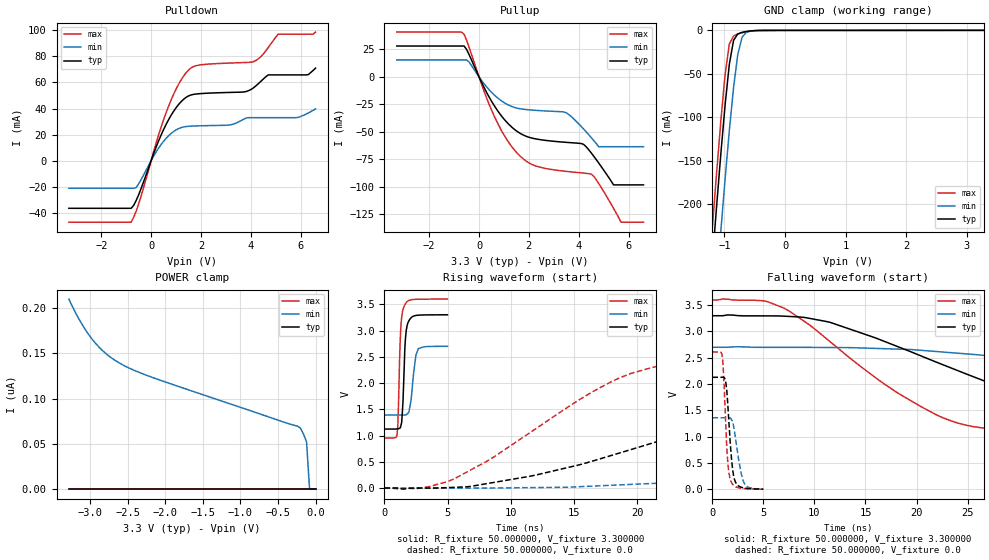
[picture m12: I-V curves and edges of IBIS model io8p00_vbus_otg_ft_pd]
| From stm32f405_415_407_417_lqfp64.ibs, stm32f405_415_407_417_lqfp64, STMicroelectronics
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|   Model io8p00_vbus_otg_ft_pd
[Model]  io8p00_vbus_otg_ft_pd
Model_type I/O
Polarity   Non-Inverting
Enable   Active-Low
Vinl =   0.990000V
Vinh =   2.310000V
Vmeas =  1.650000V
Cref =   50.000000pF
Rref =   100.000000M
Vref =   0.0V
C_comp   3.304800pF   3.199300pF   3.429300pF
[Temperature Range]   25.000000   0.125000k   -40.000000
[Pullup Reference]   3.300000V   2.700000V   3.600000V
[Pulldown Reference]   0.0V   0.0V   0.0V
[POWER Clamp Reference]   3.300000V   2.700000V   3.600000V
[GND Clamp Reference]   0.0V   0.0V   0.0V
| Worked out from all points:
|   slope of the pulldown table from 0 to 0.495 V, typ, clamps not added: 20.9 ohm
|   slope of the pullup table from 0 to 0.495 V, typ, clamps not added: 22.6 ohm
|   GND clamp passes 1 mA (typ) near -0.61 V on its own axis
|   rising waveform, R_fixture 50.000000, V_fixture 3.300000: 20-80 % time 223ps typ, 350ps min, 205ps max; typ from 1.12 V to 3.3 V
|   rising waveform, R_fixture 50.000000, V_fixture 0.0: 20-80 % time 19.3ns typ, 47.3ns min, 10.3ns max; typ from 0 V to 2.13 V
|   falling waveform, R_fixture 50.000000, V_fixture 3.300000: 20-80 % time 18.4ns typ, 37.5ns min, 11.4ns max; typ from 3.3 V to 1.12 V
|   falling waveform, R_fixture 50.000000, V_fixture 0.0: 20-80 % time 480ps typ, 675ps min, 387ps max; typ from 2.13 V to 0 V
[Pulldown]
|Voltage   I(typ)   I(min)   I(max)
-3.3V     -36.41mA   -21.08mA   -47.03mA
-800mV    -36.41mA   -21.08mA   -47.03mA
-600mV    -30.48mA   -20.53mA   -38.65mA
700mV     31.4mA     19.11mA    41.71mA
1.2V      45.15mA    25.37mA    61.75mA
1.6V      50.35mA    26.5mA     71.06mA
3.1V      52.27mA    27.26mA    74.75mA
4.1V      55.7mA     32.99mA    75.8mA
4.7V      65.72mA    32.99mA    86.69mA
5.1V      65.72mA    32.99mA    96.9mA
6.3V      65.87mA    36.5mA     96.9mA
6.6V      70.93mA    39.71mA    98.5mA
[Pullup]
|Voltage   I(typ)   I(min)   I(max)
-3.3V     28.03mA    15.43mA    40.69mA
-700mV    28.03mA    15.43mA    40.69mA
-400mV    20.31mA    13.47mA    26.93mA
600mV     -25.77mA   -16.23mA   -35.13mA
1.6V      -50.64mA   -28.81mA   -70.96mA
3.5V      -59.53mA   -32.66mA   -85.92mA
4.2V      -61.44mA   -47.49mA   -87.46mA
4.5V      -69.06mA   -55.13mA   -88.4mA
4.8V      -78.23mA   -63.5mA    -96.84mA
5.4V      -98.2mA    -63.5mA    -119.6mA
5.7V      -98.2mA    -63.5mA    -132.1mA
6.6V      -98.2mA    -63.5mA    -132.1mA
[GND_clamp]
|Voltage   I(typ)   I(min)   I(max)
-3.3V     -2.321A    -2.399A    -2.294A
-1.2V     -265.6mA   -356.2mA   -227.3mA
-1.13V    -202.8mA   -293mA     -164.3mA
-1.06V    -142.3mA   -231.2mA   -104.3mA
-990mV    -86.15mA   -171.7mA   -51.01mA
-920mV    -39.05mA   -115.6mA   -15.73mA
-850mV    -11.41mA   -65.74mA   -6.38mA
-780mV    -4.058mA   -27.6mA    -4.167mA
-710mV    -2.296mA   -7.89mA    -2.605mA
-640mV    -1.302mA   -2.283mA   -1.381mA
-570mV    -629.1uA   -918.9uA   -580.8uA
3.28V     81.28uA    57.87uA    93.98uA
[POWER_clamp]
|Voltage   I(typ)   I(min)   I(max)
-3.28V    0A         210.1nA    0A
-3.12V    0A         184.2nA    0A
-2.96V    0A         164.6nA    0A
-2.8V     0A         150.7nA    0A
-2.6V     0A         139nA      0A
-2.16V    0A         123.2nA    0A
-240mV    0A         69.7nA     0A
-200mV    0A         67.32nA    0A
-160mV    0A         60.72nA    0A
-120mV    0A         52.23nA    0A
-80mV     0A         0A         0A
0V        0A         0A         0A
[Ramp]
| variable   typ   min   max
dV/dt_r  1.27644/19.23909n   0.81486/47.33205n   1.56654/10.30931n
dV/dt_f  1.30536/18.37874n   0.78480/37.61398n   1.58742/11.38956n
R_load = 50.000000
[Rising Waveform]
R_fixture= 50.000000
V_fixture= 3.300000
V_fixture_min= 2.700000
V_fixture_max= 3.600000
|time   V(typ)   V(min)   V(max)
0s        1.123V     1.39V      953.1mV
991ps     1.125V     1.391V     1.003V
1.061ns   1.127V     1.391V     1.214V
1.281ns   1.17V      1.391V     2.993V
1.461ns   1.622V     1.39V      3.392V
1.552ns   2.216V     1.391V     3.458V
1.722ns   2.995V     1.395V     3.53V
2.032ns   3.222V     1.578V     3.58V
2.683ns   3.292V     2.656V     3.596V
4.985ns   3.299V     2.699V     3.599V
[Rising Waveform]
R_fixture= 50.000000
V_fixture= 0.0
V_fixture_min= 0.0
V_fixture_max= 0.0
|time   V(typ)   V(min)   V(max)
0s        7.157nV    351.8nV    4.703nV
5.506ns   13.44mV    -162.8uV   174mV
12.01ns   249.8mV    9.333mV    1.137V
19.52ns   734.8mV    69.79mV    2.186V
25.03ns   1.127V     128.9mV    2.436V
33.03ns   1.633V     243.1mV    2.549V
48.55ns   2.011V     544.9mV    2.601V
87.09ns   2.12V      1.139V     2.611V
157.7ns   2.128V     1.346V     2.611V
249.2ns   2.128V     1.358V     2.611V
[Falling Waveform]
R_fixture= 50.000000
V_fixture= 3.300000
V_fixture_min= 2.700000
V_fixture_max= 3.600000
|time   V(typ)   V(min)   V(max)
0s        3.299V     2.699V     3.599V
5.506ns   3.295V     2.697V     3.558V
11.51ns   3.174V     2.694V     2.808V
17.02ns   2.798V     2.671V     1.978V
22.52ns   2.371V     2.609V     1.363V
31.53ns   1.721V     2.429V     1.074V
46.55ns   1.274V     2.082V     997.5mV
64.06ns   1.181V     1.707V     968.4mV
85.09ns   1.146V     1.532V     956.3mV
249.2ns   1.123V     1.39V      953.1mV
[Falling Waveform]
R_fixture= 50.000000
V_fixture= 0.0
V_fixture_min= 0.0
V_fixture_max= 0.0
|time   V(typ)   V(min)   V(max)
0s        2.128V     1.358V     2.611V
981ps     2.129V     1.357V     2.51V
1.151ns   2.119V     1.357V     1.98V
1.311ns   2.031V     1.357V     1.243V
1.491ns   1.668V     1.359V     562.5mV
1.812ns   732.4mV    1.344V     156.8mV
2.182ns   176.9mV    1.086V     58.14mV
2.573ns   60.68mV    562.4mV    27.39mV
3.033ns   24.88mV    154.5mV    13.11mV
4.985ns   7.157nV    351.8nV    4.703nV
